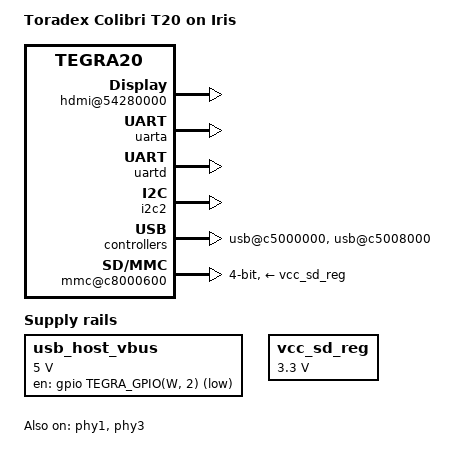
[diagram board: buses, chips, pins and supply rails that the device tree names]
/dts-v1/;

#include "tegra20-colibri.dtsi"

/ {
	model = "Toradex Colibri T20 on Iris";
	compatible = "toradex,iris", "toradex,colibri_t20", "nvidia,tegra20";
	barebox,disable-deep-probe;

	chosen {
		stdout-path = &uarta;
	};
};

&{/host1x@50000000/hdmi@54280000} {
	status = "okay";
};

&pinmux {
	hdint {
		nvidia,tristate = <TEGRA_PIN_DISABLE>;
	};

	i2cddc {
		nvidia,tristate = <TEGRA_PIN_DISABLE>;
	};

	sdio4 {
		nvidia,tristate = <TEGRA_PIN_DISABLE>;
	};

	uarta {
		nvidia,tristate = <TEGRA_PIN_DISABLE>;
	};

	uartd {
		nvidia,tristate = <TEGRA_PIN_DISABLE>;
	};
};

&uarta {
	status = "okay";
};

&uartd {
	status = "okay";
};

i2c_ddc: &i2c2 {
	status = "okay";
};

&{/usb@c5000000} {
	status = "okay";
};

&phy1 {
	status = "okay";
};

&{/usb@c5008000} {
	status = "okay";
};

&phy3 {
	status = "okay";
};

&{/mmc@c8000600} {
	status = "okay";
	bus-width = <4>;
	vmmc-supply = <&vcc_sd_reg>;
	vqmmc-supply = <&vcc_sd_reg>;
};

/ {
	regulator_usb_host_vbus {
		compatible = "regulator-fixed";
		regulator-name = "usb_host_vbus";
		regulator-min-microvolt = <5000000>;
		regulator-max-microvolt = <5000000>;
		regulator-boot-on;
		regulator-always-on;
		gpio = <&gpio TEGRA_GPIO(W, 2) GPIO_ACTIVE_HIGH>;
	};

	vcc_sd_reg: regulator_vcc_sd {
		compatible = "regulator-fixed";
		regulator-name = "vcc_sd";
		regulator-min-microvolt = <3300000>;
		regulator-max-microvolt = <3300000>;
		regulator-boot-on;
		regulator-always-on;
	};
};
